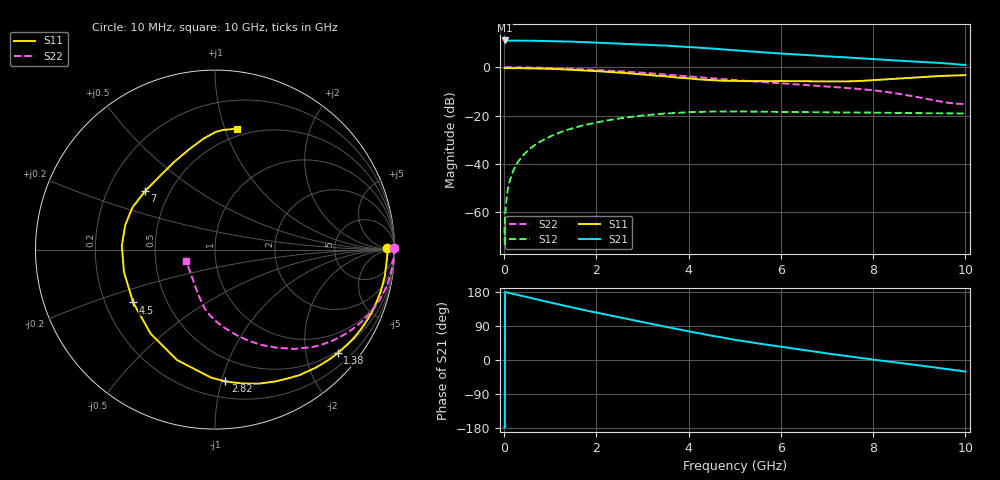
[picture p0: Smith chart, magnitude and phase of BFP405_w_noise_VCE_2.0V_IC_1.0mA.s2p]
! Infineon Technologies  Discrete & RF Semiconductors
! BFP405
! VCE =  2.0 V,  IC =  1.0 mA
! Common Emitter S-Parameters:  Jan 2016
# GHz  S  MA  R  50
!  f  S11  S21  S12  S22
! GHz  MAG  ANG  MAG  ANG  MAG  ANG  MAG  ANG
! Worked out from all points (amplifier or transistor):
!   233 points, 10 MHz to 10 GHz, reference 50 ohm
!   highest |S21| = 11.1 dB at 10 MHz (marker M1)
!   |S21| within 3 dB of that: start of sweep to 4.225 GHz
!   unconditionally stable (mu >= 1): 5.155 GHz to end of sweep
!   at 200 MHz: K = 0.01, MSG = 26.8 dB, |S12| = -42.6 dB
!   at 1.74 GHz: K = 0.21, MSG = 17.1 dB, |S12| = -23.9 dB
!   at 10 GHz: K = 2.04, MAG = 4.2 dB, |S12| = -19.1 dB
!   lowest NFmin = 0.74 dB at 900 MHz
!   S11 on the Smith chart (normalised r, x): 10 MHz: 47, +8; 1.38 GHz: 0.46, -2.67; 2.82 GHz: 0.32, -1.03; 4.5 GHz: 0.32, -0.27; 7 GHz: 0.36, +0.32; 10 GHz: 0.43, +1.10
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0.01  0.9593 0.4  3.576 -177.0  0.0005 -52.2  1 0.6
0.015  0.9614 0.1  3.549 -178.8  0.0002 64.0  0.9978 0.4
0.02  0.9635 -0.2  3.526 179.3  0.0008 98.1  0.9957 0.1
0.025  0.9628 -0.4  3.525 179.3  0.001 97.4  0.9963 -0.0
0.06  0.9598 -1.8  3.525 178.6  0.0022 92.6  0.9992 -0.7
0.1  0.9601 -2.8  3.545 177.0  0.0038 86.8  0.9989 -1.5
0.2  0.9583 -5.6  3.544 174.4  0.0074 87.7  0.9967 -3.3
0.3  0.9581 -8.5  3.551 171.7  0.011 86.1  0.996 -4.8
0.8  0.939 -23.0  3.51 157.4  0.0297 77.6  0.9748 -13.0
1.38  0.8948 -40.1  3.397 141.3  0.0511 67.1  0.9344 -22.1
1.68  0.8656 -49.1  3.32 133.3  0.0617 61.6  0.908 -26.5
2.2  0.8084 -65.3  3.17 119.9  0.0786 52.1  0.8578 -33.9
2.82  0.7362 -85.5  2.996 104.6  0.096 40.9  0.7904 -42.4
3.4  0.6583 -105.3  2.82 90.3  0.1085 30.4  0.7198 -50.0
4  0.5897 -127.5  2.628 75.6  0.1174 20.4  0.6472 -57.7
4.5  0.543 -147.2  2.441 64.1  0.1212 12.7  0.5919 -63.9
5.1  0.5186 -169.4  2.209 51.5  0.1217 4.7  0.5344 -70.5
6  0.5185 164.7  1.922 35.0  0.1193 -4.3  0.4652 -79.2
6.8  0.5084 145.4  1.726 21.1  0.1173 -10.0  0.4119 -87.1
7  0.508 140.3  1.683 17.4  0.1168 -11.3  0.3993 -89.2
8.4  0.5711 105.7  1.394 -5.1  0.1141 -19.4  0.298 -104.9
10  0.6856 79.6  1.11 -30.5  0.1108 -24.6  0.1729 -158.1
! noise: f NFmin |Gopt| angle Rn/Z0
0.9  0.74  0.71  15  0.57
1.8  1.18  0.58  32  0.51
2.4  1.45  0.48  44  0.46
3  1.56  0.48  58  0.43
4  1.81  0.35  86  0.3
5  2.13  0.33  122  0.21
